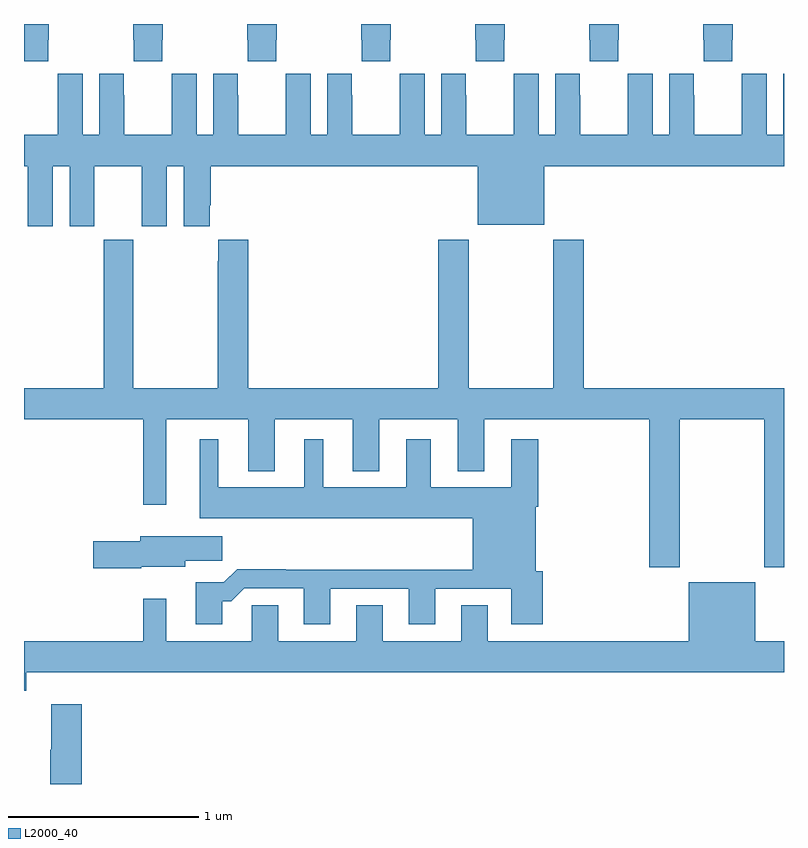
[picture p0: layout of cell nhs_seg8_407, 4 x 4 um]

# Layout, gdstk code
import gdstk
lib = gdstk.Library(unit=1e-6, precision=1e-09)
def P(c, l, *ps):  # polygons
    for p in ps: c.add(gdstk.Polygon(p, *l))
L2000_40 = (2000, 40)

nhs_seg8_407 = lib.new_cell('nhs_seg8_407')
P(nhs_seg8_407, L2000_40, [(137.727,1131.817),(137.73,1131.817),(137.73,1131.9),(137.575,1131.9),(137.575,1131.817),(137.577,1131.817),(137.577,1131.705),(137.727,1131.705)],
  [(138.327,1131.817),(138.33,1131.817),(138.33,1131.9),(138.175,1131.9),(138.175,1131.817),(138.177,1131.817),(138.177,1131.705),(138.327,1131.705)],
  [(138.927,1131.817),(138.93,1131.817),(138.93,1131.9),(138.775,1131.9),(138.775,1131.817),(138.777,1131.817),(138.777,1131.705),(138.927,1131.705)],
  [(139.527,1131.817),(139.53,1131.817),(139.53,1131.9),(139.375,1131.9),(139.375,1131.817),(139.377,1131.817),(139.377,1131.705),(139.527,1131.705)],
  [(140.127,1131.817),(140.13,1131.817),(140.13,1131.9),(139.975,1131.9),(139.975,1131.817),(139.977,1131.817),(139.977,1131.705),(140.127,1131.705)],
  [(140.727,1131.817),(140.73,1131.817),(140.73,1131.9),(140.575,1131.9),(140.575,1131.817),(140.577,1131.817),(140.577,1131.705),(140.727,1131.705)],
  [(137.127,1131.817),(137.13,1131.817),(137.13,1131.9),(137,1131.9),(137,1131.705),(137.127,1131.705)],
  [(139.388,1130.843),(139.738,1130.843),(139.738,1131.152),(141,1131.152),(141,1131.637),(140.996,1131.637),(140.996,1131.316),(140.908,1131.316),(140.908,1131.637),(140.778,1131.637),(140.778,1131.524),(140.777,1131.524),(140.777,1131.316),(140.527,1131.316),(140.527,1131.524),(140.526,1131.524),(140.526,1131.637),(140.396,1131.637),(140.396,1131.316),(140.308,1131.316),(140.308,1131.637),(140.178,1131.637),(140.178,1131.524),(140.177,1131.524),(140.177,1131.316),(139.927,1131.316),(139.927,1131.524),(139.926,1131.524),(139.926,1131.637),(139.796,1131.637),(139.796,1131.316),(139.708,1131.316),(139.708,1131.637),(139.578,1131.637),(139.578,1131.524),(139.577,1131.524),(139.577,1131.316),(139.327,1131.316),(139.327,1131.524),(139.326,1131.524),(139.326,1131.637),(139.196,1131.637),(139.196,1131.316),(139.108,1131.316),(139.108,1131.637),(138.978,1131.637),(138.978,1131.524),(138.977,1131.524),(138.977,1131.316),(138.727,1131.316),(138.727,1131.524),(138.726,1131.524),(138.726,1131.637),(138.596,1131.637),(138.596,1131.316),(138.508,1131.316),(138.508,1131.637),(138.378,1131.637),(138.378,1131.524),(138.377,1131.524),(138.377,1131.316),(138.127,1131.316),(138.127,1131.524),(138.126,1131.524),(138.126,1131.637),(137.996,1131.637),(137.996,1131.316),(137.908,1131.316),(137.908,1131.637),(137.778,1131.637),(137.778,1131.524),(137.777,1131.524),(137.777,1131.316),(137.527,1131.316),(137.527,1131.524),(137.526,1131.524),(137.526,1131.637),(137.396,1131.637),(137.396,1131.316),(137.308,1131.316),(137.308,1131.637),(137.178,1131.637),(137.178,1131.524),(137.177,1131.524),(137.177,1131.316),(137,1131.316),(137,1131.152),(137.021,1131.152),(137.021,1130.835),(137.152,1130.835),(137.152,1131.152),(137.24,1131.152),(137.24,1130.835),(137.371,1130.835),(137.371,1131.152),(137.621,1131.152),(137.621,1130.835),(137.752,1130.835),(137.752,1131.152),(137.84,1131.152),(137.84,1130.835),(137.977,1130.835),(137.977,1130.947),(137.984,1130.947),(137.984,1131.152),(139.388,1131.152)],
  [(140.451,1129.82),(140.896,1129.82),(140.896,1129.041),(141,1129.041),(141,1129.984),(139.946,1129.984),(139.946,1130.764),(139.786,1130.764),(139.786,1129.984),(139.341,1129.984),(139.341,1130.764),(139.181,1130.764),(139.181,1129.984),(138.179,1129.984),(138.179,1130.764),(138.023,1130.764),(138.023,1130.651),(138.019,1130.651),(138.019,1129.984),(137.574,1129.984),(137.574,1130.764),(137.419,1130.764),(137.419,1129.984),(137,1129.984),(137,1129.82),(137.628,1129.82),(137.628,1129.371),(137.749,1129.371),(137.749,1129.82),(138.179,1129.82),(138.179,1129.547),(138.319,1129.547),(138.319,1129.82),(138.731,1129.82),(138.731,1129.547),(138.871,1129.547),(138.871,1129.82),(139.283,1129.82),(139.283,1129.547),(139.423,1129.547),(139.423,1129.82),(140.291,1129.82),(140.291,1129.041),(140.451,1129.041)],
  [(138.043,1128.863),(138.092,1128.863),(138.159,1128.93),(138.473,1128.93),(138.473,1128.741),(138.613,1128.741),(138.613,1128.927),(139.025,1128.927),(139.025,1128.741),(139.165,1128.741),(139.165,1128.927),(139.565,1128.927),(139.565,1128.741),(139.73,1128.741),(139.73,1129.02),(139.693,1129.02),(139.693,1129.358),(139.706,1129.358),(139.706,1129.714),(139.565,1129.714),(139.565,1129.462),(139.141,1129.462),(139.141,1129.714),(139.013,1129.714),(139.013,1129.462),(138.574,1129.462),(138.574,1129.714),(138.476,1129.714),(138.476,1129.462),(138.022,1129.462),(138.022,1129.714),(137.924,1129.714),(137.924,1129.298),(139.361,1129.298),(139.361,1129.028),(138.377,1129.028),(138.377,1129.031),(138.122,1129.031),(138.052,1128.961),(137.903,1128.961),(137.903,1128.741),(138.043,1128.741)],
  [(137.616,1129.043),(137.848,1129.043),(137.848,1129.075),(138.043,1129.075),(138.043,1129.204),(137.612,1129.204),(137.612,1129.178),(137.364,1129.178),(137.364,1129.036),(137.616,1129.036)],
  [(141,1128.652),(140.848,1128.652),(140.848,1128.961),(140.498,1128.961),(140.498,1128.652),(139.441,1128.652),(139.441,1128.842),(139.301,1128.842),(139.301,1128.652),(138.889,1128.652),(138.889,1128.842),(138.749,1128.842),(138.749,1128.652),(138.337,1128.652),(138.337,1128.842),(138.198,1128.842),(138.198,1128.652),(137.749,1128.652),(137.749,1128.874),(137.628,1128.874),(137.628,1128.652),(137,1128.652),(137,1128.392),(137.012,1128.392),(137.012,1128.488),(141,1128.488)],
  [(137.303,1128.319),(137.144,1128.319),(137.144,1128.08),(137.137,1128.08),(137.137,1127.9),(137.303,1127.9)])

lib.write_gds('nhs_seg8_407.gds')
